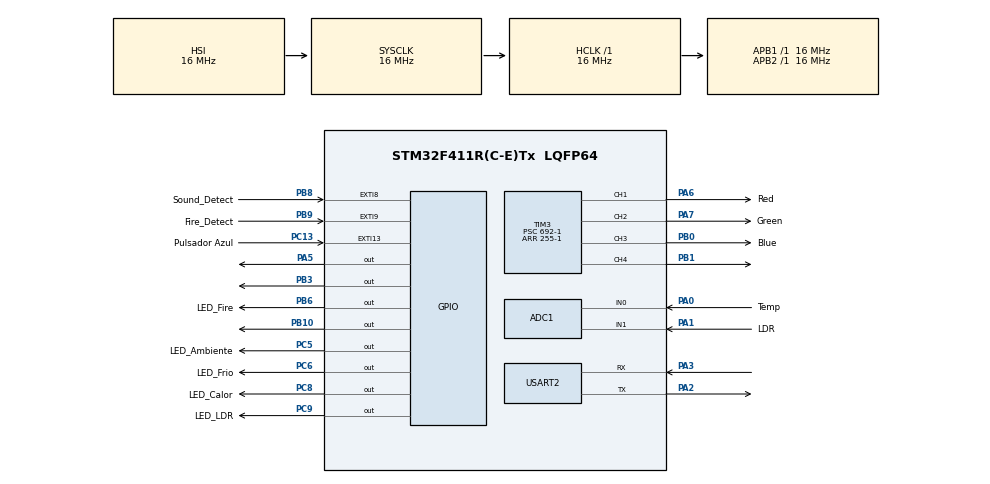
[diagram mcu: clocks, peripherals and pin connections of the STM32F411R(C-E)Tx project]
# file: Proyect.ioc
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ADC1.Channel-5\#ChannelRegularConversion=ADC_CHANNEL_0
ADC1.Channel-6\#ChannelRegularConversion=ADC_CHANNEL_1
ADC1.ContinuousConvMode=ENABLE
ADC1.NbrOfConversion=2
ADC1.NbrOfConversionFlag=1
ADC1.Rank-5\#ChannelRegularConversion=1
ADC1.Rank-6\#ChannelRegularConversion=2
ADC1.SamplingTime-5\#ChannelRegularConversion=ADC_SAMPLETIME_480CYCLES
ADC1.SamplingTime-6\#ChannelRegularConversion=ADC_SAMPLETIME_480CYCLES
ADC1.ScanConvMode=ENABLE
ADC1.master=1
FREERTOS.BinarySemaphores01=Fire_Semaphore,Dynamic,NULL
FREERTOS.Events01=Sound_Flag,Dynamic,NULL;Fire_Flag,Dynamic,NULL;Sys_Flag,Dynamic,NULL
FREERTOS.Mutexes01=com_lock,Dynamic,NULL
FREERTOS.Queues01=ADC_Read_Cola,4,struct ADC_Values,0,Dynamic,NULL,NULL;Actuadores_Cola,4,struct ADC_Values,0,Dynamic,NULL,NULL
FREERTOS.Tasks01=defaultTask,24,128,StartDefaultTask,Default,NULL,Dynamic,NULL,NULL;RGB,8,128,Start_RGB_Task,Default,NULL,Dynamic,NULL,NULL;Fire_Task,40,128,Start_Fire_Task,Default,NULL,Dynamic,NULL,NULL;ADC_Read,8,256,Start_ADC_Read,Default,NULL,Dynamic,NULL,NULL;COM,8,256,Start_COM,Default,NULL,Dynamic,NULL,NULL;Actuadores,8,256,StartActuadores_task,Default,NULL,Dynamic,NULL,NULL
Mcu.Family=STM32F4
Mcu.Name=STM32F411R(C-E)Tx
Mcu.Package=LQFP64
NVIC.ADC_IRQn=true\:5\:0\:false\:false\:true\:true\:true\:true\:true
NVIC.EXTI15_10_IRQn=true\:5\:0\:false\:false\:true\:true\:true\:true\:true
NVIC.EXTI9_5_IRQn=true\:5\:0\:true\:false\:true\:true\:true\:true\:true
NVIC.PriorityGroup=NVIC_PRIORITYGROUP_4
NVIC.USART2_IRQn=true\:5\:0\:false\:false\:true\:true\:true\:true\:true
PA0-WKUP.GPIO_Label=Temp
PA0-WKUP.Signal=ADCx_IN0
PA1.GPIO_Label=LDR
PA1.Signal=ADCx_IN1
PA2.Mode=Asynchronous
PA2.Signal=USART2_TX
PA3.Mode=Asynchronous
PA3.Signal=USART2_RX
PA5.PinState=GPIO_PIN_RESET
PA5.Signal=GPIO_Output
PA6.GPIO_Label=Red
PA6.Signal=S_TIM3_CH1
PA7.GPIO_Label=Green
PA7.Signal=S_TIM3_CH2
PB0.GPIO_Label=Blue
PB0.Signal=S_TIM3_CH3
PB1.Signal=S_TIM3_CH4
PB10.Signal=GPIO_Output
PB3.Signal=GPIO_Output
PB6.GPIO_Label=LED_Fire
PB6.Signal=GPIO_Output
PB8.GPIO_Label=Sound_Detect
PB8.Signal=GPXTI8
PB9.GPIO_Label=Fire_Detect
PB9.Signal=GPXTI9
PC13-ANTI_TAMP.GPIO_Label=Pulsador Azul
PC13-ANTI_TAMP.Signal=GPXTI13
PC5.GPIO_Label=LED_Ambiente
PC5.Signal=GPIO_Output
PC6.GPIO_Label=LED_Frio
PC6.Signal=GPIO_Output
PC8.GPIO_Label=LED_Calor
PC8.Signal=GPIO_Output
PC9.GPIO_Label=LED_LDR
PC9.Signal=GPIO_Output
ProjectManager.HeapSize=0x200
ProjectManager.StackSize=0x400
ProjectManager.TargetToolchain=STM32CubeIDE
RCC.AHBFreq_Value=16000000
RCC.APB1Freq_Value=16000000
RCC.APB2Freq_Value=16000000
RCC.CortexFreq_Value=16000000
RCC.HSE_VALUE=25000000
RCC.HSI_VALUE=16000000
RCC.LSE_VALUE=32768
RCC.SYSCLKFreq_VALUE=16000000
RCC.VCOOutputFreq_Value=192000000
SH.ADCx_IN0.0=ADC1_IN0,IN0
SH.ADCx_IN1.0=ADC1_IN1,IN1
SH.S_TIM3_CH1.0=TIM3_CH1,PWM Generation1 CH1
SH.S_TIM3_CH2.0=TIM3_CH2,PWM Generation2 CH2
SH.S_TIM3_CH3.0=TIM3_CH3,PWM Generation3 CH3
SH.S_TIM3_CH4.0=TIM3_CH4,PWM Generation4 CH4
TIM3.Channel-PWM\ Generation1\ CH1=TIM_CHANNEL_1
TIM3.Channel-PWM\ Generation2\ CH2=TIM_CHANNEL_2
TIM3.Channel-PWM\ Generation3\ CH3=TIM_CHANNEL_3
TIM3.Channel-PWM\ Generation4\ CH4=TIM_CHANNEL_4
TIM3.Period=255-1
TIM3.Prescaler=692-1
USART2.VirtualMode=VM_ASYNC
VP_FREERTOS_VS_CMSIS_V2.Mode=CMSIS_V2
board=custom

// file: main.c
/* USER CODE BEGIN Header */
/**
  ******************************************************************************
  * @file           : main.c
  * @brief          : Main program body
  ******************************************************************************
  * @attention
  *
  * Copyright (c) 2023 STMicroelectronics.
  * All rights reserved.
  *
  * This software is licensed under terms that can be found in the LICENSE file
  * in the root directory of this software component.
  * If no LICENSE file comes with this software, it is provided AS-IS.
  *
  ******************************************************************************
  */
/* USER CODE END Header */
#include "main.h"
#include "cmsis_os.h"

/* USER CODE BEGIN Includes */
#include <stdio.h>
#include <stdlib.h>
/* USER CODE END Includes */

/* USER CODE BEGIN PD */
#define RGB_Off 	0
#define RGB_Red 	1
#define RGB_Green 	2
#define RGB_Blue	3

#define temp_raw_cold 850 // 18ºC
#define temp_raw_hot  950 // 26ºC

#define limite_LDR 2000
/* USER CODE END PD */

/* USER CODE BEGIN PM */
#define MASK(pos) ( 1 << pos )
/* USER CODE END PM */

ADC_HandleTypeDef hadc1;

TIM_HandleTypeDef htim3;

UART_HandleTypeDef huart2;

/* Definitions for defaultTask */
osThreadId_t defaultTaskHandle;
const osThreadAttr_t defaultTask_attributes = {
  .name = "defaultTask",
  .stack_size = 128 * 4,
  .priority = (osPriority_t) osPriorityNormal,
};
/* Definitions for RGB */
osThreadId_t RGBHandle;
const osThreadAttr_t RGB_attributes = {
  .name = "RGB",
  .stack_size = 128 * 4,
  .priority = (osPriority_t) osPriorityLow,
};
/* Definitions for Fire_Task */
osThreadId_t Fire_TaskHandle;
const osThreadAttr_t Fire_Task_attributes = {
  .name = "Fire_Task",
  .stack_size = 128 * 4,
  .priority = (osPriority_t) osPriorityHigh,
};
/* Definitions for ADC_Read */
osThreadId_t ADC_ReadHandle;
const osThreadAttr_t ADC_Read_attributes = {
  .name = "ADC_Read",
  .stack_size = 256 * 4,
  .priority = (osPriority_t) osPriorityLow,
};
/* Definitions for COM */
osThreadId_t COMHandle;
const osThreadAttr_t COM_attributes = {
  .name = "COM",
  .stack_size = 256 * 4,
  .priority = (osPriority_t) osPriorityLow,
};
/* Definitions for Actuadores */
osThreadId_t ActuadoresHandle;
const osThreadAttr_t Actuadores_attributes = {
  .name = "Actuadores",
  .stack_size = 256 * 4,
  .priority = (osPriority_t) osPriorityLow,
};
/* Definitions for ADC_Read_Cola */
osMessageQueueId_t ADC_Read_ColaHandle;
const osMessageQueueAttr_t ADC_Read_Cola_attributes = {
  .name = "ADC_Read_Cola"
};
/* Definitions for Actuadores_Cola */
osMessageQueueId_t Actuadores_ColaHandle;
const osMessageQueueAttr_t Actuadores_Cola_attributes = {
  .name = "Actuadores_Cola"
};
/* Definitions for com_lock */
osMutexId_t com_lockHandle;
const osMutexAttr_t com_lock_attributes = {
  .name = "com_lock"
};
/* Definitions for Fire_Semaphore */
osSemaphoreId_t Fire_SemaphoreHandle;
const osSemaphoreAttr_t Fire_Semaphore_attributes = {
  .name = "Fire_Semaphore"
};
/* Definitions for Sound_Flag */
osEventFlagsId_t Sound_FlagHandle;
const osEventFlagsAttr_t Sound_Flag_attributes = {
  .name = "Sound_Flag"
};
/* Definitions for Fire_Flag */
osEventFlagsId_t Fire_FlagHandle;
const osEventFlagsAttr_t Fire_Flag_attributes = {
  .name = "Fire_Flag"
};
/* Definitions for Sys_Flag */
osEventFlagsId_t Sys_FlagHandle;
const osEventFlagsAttr_t Sys_Flag_attributes = {
  .name = "Sys_Flag"
};
/* USER CODE BEGIN PV */
struct ADC_Values{
	uint32_t temp;
	uint32_t ldr;
};
/* USER CODE END PV */

void SystemClock_Config(void);
static void MX_GPIO_Init(void);
static void MX_USART2_UART_Init(void);
static void MX_ADC1_Init(void);
static void MX_TIM3_Init(void);
void StartDefaultTask(void *argument);
void Start_RGB_Task(void *argument);
void Start_Fire_Task(void *argument);
void Start_ADC_Read(void *argument);
void Start_COM(void *argument);
void StartActuadores_task(void *argument);

/* USER CODE BEGIN 0 */

void set_rgb (uint8_t red, uint8_t green, uint8_t blue)
{
 htim3.Instance->CCR1 = red;
 htim3.Instance->CCR2 = green;
 htim3.Instance->CCR3 = blue;
}

void HAL_GPIO_EXTI_Callback ( uint16_t GPIO_Pin ){
	if(GPIO_Pin == Pulsador_Azul_Pin){
		osEventFlagsSet(Sys_FlagHandle, 0x00000001U);
	}
	else if(GPIO_Pin & MASK(9)){
		osEventFlagsSet(Fire_FlagHandle, 0x00000001U);
	}
	else if((GPIO_Pin & MASK(8)) && !(HAL_GPIO_ReadPin(GPIOB, Fire_Detect_Pin))){
		osEventFlagsSet(Sound_FlagHandle, 0x00000001U);
	}
}

/* USER CODE END 0 */

int main(void)
{

  /* MCU Configuration--------------------------------------------------------*/

  /* Reset of all peripherals, Initializes the Flash interface and the Systick. */
  HAL_Init();

  /* Configure the system clock */
  SystemClock_Config();

  /* Initialize all configured peripherals */
  MX_GPIO_Init();
  MX_USART2_UART_Init();
  MX_ADC1_Init();
  MX_TIM3_Init();

  /* Init scheduler */
  osKernelInitialize();
  /* Create the mutex(es) */
  /* creation of com_lock */
  com_lockHandle = osMutexNew(&com_lock_attributes);

  /* Create the semaphores(s) */
  /* creation of Fire_Semaphore */
  Fire_SemaphoreHandle = osSemaphoreNew(1, 1, &Fire_Semaphore_attributes);

  /* Create the queue(s) */
  /* creation of ADC_Read_Cola */
  ADC_Read_ColaHandle = osMessageQueueNew (4, sizeof(struct ADC_Values), &ADC_Read_Cola_attributes);

  /* creation of Actuadores_Cola */
  Actuadores_ColaHandle = osMessageQueueNew (4, sizeof(struct ADC_Values), &Actuadores_Cola_attributes);

  /* Create the thread(s) */
  /* creation of defaultTask */
  defaultTaskHandle = osThreadNew(StartDefaultTask, NULL, &defaultTask_attributes);

  /* creation of RGB */
  RGBHandle = osThreadNew(Start_RGB_Task, NULL, &RGB_attributes);

  /* creation of Fire_Task */
  Fire_TaskHandle = osThreadNew(Start_Fire_Task, NULL, &Fire_Task_attributes);

  /* creation of ADC_Read */
  ADC_ReadHandle = osThreadNew(Start_ADC_Read, NULL, &ADC_Read_attributes);

  /* creation of COM */
  COMHandle = osThreadNew(Start_COM, NULL, &COM_attributes);

  /* creation of Actuadores */
  ActuadoresHandle = osThreadNew(StartActuadores_task, NULL, &Actuadores_attributes);

  /* creation of Sound_Flag */
  Sound_FlagHandle = osEventFlagsNew(&Sound_Flag_attributes);

  /* creation of Fire_Flag */
  Fire_FlagHandle = osEventFlagsNew(&Fire_Flag_attributes);

  /* creation of Sys_Flag */
  Sys_FlagHandle = osEventFlagsNew(&Sys_Flag_attributes);

  /* Start scheduler */
  osKernelStart();

  /* We should never get here as control is now taken by the scheduler */
  /* Infinite loop */
  while (1)
  {

  }
}

void SystemClock_Config(void)
{
  RCC_OscInitTypeDef RCC_OscInitStruct = {0};
  RCC_ClkInitTypeDef RCC_ClkInitStruct = {0};

  /** Configure the main internal regulator output voltage
  */
  __HAL_RCC_PWR_CLK_ENABLE();
  __HAL_PWR_VOLTAGESCALING_CONFIG(PWR_REGULATOR_VOLTAGE_SCALE1);

  /** Initializes the RCC Oscillators according to the specified parameters
  * in the RCC_OscInitTypeDef structure.
  */
  RCC_OscInitStruct.OscillatorType = RCC_OSCILLATORTYPE_HSI;
  RCC_OscInitStruct.HSIState = RCC_HSI_ON;
  RCC_OscInitStruct.HSICalibrationValue = RCC_HSICALIBRATION_DEFAULT;
  RCC_OscInitStruct.PLL.PLLState = RCC_PLL_NONE;
  if (HAL_RCC_OscConfig(&RCC_OscInitStruct) != HAL_OK)
  {
    Error_Handler();
  }

  /** Initializes the CPU, AHB and APB buses clocks
  */
  RCC_ClkInitStruct.ClockType = RCC_CLOCKTYPE_HCLK|RCC_CLOCKTYPE_SYSCLK
                              |RCC_CLOCKTYPE_PCLK1|RCC_CLOCKTYPE_PCLK2;
  RCC_ClkInitStruct.SYSCLKSource = RCC_SYSCLKSOURCE_HSI;
  RCC_ClkInitStruct.AHBCLKDivider = RCC_SYSCLK_DIV1;
  RCC_ClkInitStruct.APB1CLKDivider = RCC_HCLK_DIV1;
  RCC_ClkInitStruct.APB2CLKDivider = RCC_HCLK_DIV1;

  if (HAL_RCC_ClockConfig(&RCC_ClkInitStruct, FLASH_LATENCY_0) != HAL_OK)
  {
    Error_Handler();
  }
}

static void MX_ADC1_Init(void)
{

  ADC_ChannelConfTypeDef sConfig = {0};

  /** Configure the global features of the ADC (Clock, Resolution, Data Alignment and number of conversion)
  */
  hadc1.Instance = ADC1;
  hadc1.Init.ClockPrescaler = ADC_CLOCK_SYNC_PCLK_DIV2;
  hadc1.Init.Resolution = ADC_RESOLUTION_12B;
  hadc1.Init.ScanConvMode = ENABLE;
  hadc1.Init.ContinuousConvMode = ENABLE;
  hadc1.Init.DiscontinuousConvMode = DISABLE;
  hadc1.Init.ExternalTrigConvEdge = ADC_EXTERNALTRIGCONVEDGE_NONE;
  hadc1.Init.ExternalTrigConv = ADC_SOFTWARE_START;
  hadc1.Init.DataAlign = ADC_DATAALIGN_RIGHT;
  hadc1.Init.NbrOfConversion = 2;
  hadc1.Init.DMAContinuousRequests = DISABLE;
  hadc1.Init.EOCSelection = ADC_EOC_SINGLE_CONV;
  if (HAL_ADC_Init(&hadc1) != HAL_OK)
  {
    Error_Handler();
  }

  /** Configure for the selected ADC regular channel its corresponding rank in the sequencer and its sample time.
  */
  sConfig.Channel = ADC_CHANNEL_0;
  sConfig.Rank = 1;
  sConfig.SamplingTime = ADC_SAMPLETIME_480CYCLES;
  if (HAL_ADC_ConfigChannel(&hadc1, &sConfig) != HAL_OK)
  {
    Error_Handler();
  }

  /** Configure for the selected ADC regular channel its corresponding rank in the sequencer and its sample time.
  */
  sConfig.Channel = ADC_CHANNEL_1;
  sConfig.Rank = 2;
  if (HAL_ADC_ConfigChannel(&hadc1, &sConfig) != HAL_OK)
  {
    Error_Handler();
  }

}

static void MX_TIM3_Init(void)
{

  TIM_MasterConfigTypeDef sMasterConfig = {0};
  TIM_OC_InitTypeDef sConfigOC = {0};

  htim3.Instance = TIM3;
  htim3.Init.Prescaler = 692-1;
  htim3.Init.CounterMode = TIM_COUNTERMODE_UP;
  htim3.Init.Period = 255-1;
  htim3.Init.ClockDivision = TIM_CLOCKDIVISION_DIV1;
  htim3.Init.AutoReloadPreload = TIM_AUTORELOAD_PRELOAD_DISABLE;
  if (HAL_TIM_PWM_Init(&htim3) != HAL_OK)
  {
    Error_Handler();
  }
  sMasterConfig.MasterOutputTrigger = TIM_TRGO_RESET;
  sMasterConfig.MasterSlaveMode = TIM_MASTERSLAVEMODE_DISABLE;
  if (HAL_TIMEx_MasterConfigSynchronization(&htim3, &sMasterConfig) != HAL_OK)
  {
    Error_Handler();
  }
  sConfigOC.OCMode = TIM_OCMODE_PWM1;
  sConfigOC.Pulse = 0;
  sConfigOC.OCPolarity = TIM_OCPOLARITY_HIGH;
  sConfigOC.OCFastMode = TIM_OCFAST_DISABLE;
  if (HAL_TIM_PWM_ConfigChannel(&htim3, &sConfigOC, TIM_CHANNEL_1) != HAL_OK)
  {
    Error_Handler();
  }
  if (HAL_TIM_PWM_ConfigChannel(&htim3, &sConfigOC, TIM_CHANNEL_2) != HAL_OK)
  {
    Error_Handler();
  }
  if (HAL_TIM_PWM_ConfigChannel(&htim3, &sConfigOC, TIM_CHANNEL_3) != HAL_OK)
  {
    Error_Handler();
  }
  if (HAL_TIM_PWM_ConfigChannel(&htim3, &sConfigOC, TIM_CHANNEL_4) != HAL_OK)
  {
    Error_Handler();
  }
  HAL_TIM_MspPostInit(&htim3);

}

static void MX_USART2_UART_Init(void)
{

  huart2.Instance = USART2;
  huart2.Init.BaudRate = 115200;
  huart2.Init.WordLength = UART_WORDLENGTH_8B;
  huart2.Init.StopBits = UART_STOPBITS_1;
  huart2.Init.Parity = UART_PARITY_NONE;
  huart2.Init.Mode = UART_MODE_TX_RX;
  huart2.Init.HwFlowCtl = UART_HWCONTROL_NONE;
  huart2.Init.OverSampling = UART_OVERSAMPLING_16;
  if (HAL_UART_Init(&huart2) != HAL_OK)
  {
    Error_Handler();
  }

}

static void MX_GPIO_Init(void)
{
  GPIO_InitTypeDef GPIO_InitStruct = {0};

  /* GPIO Ports Clock Enable */
  __HAL_RCC_GPIOC_CLK_ENABLE();
  __HAL_RCC_GPIOA_CLK_ENABLE();
  __HAL_RCC_GPIOB_CLK_ENABLE();

  /*Configure GPIO pin Output Level */
  HAL_GPIO_WritePin(GPIOA, GPIO_PIN_5, GPIO_PIN_RESET);

  /*Configure GPIO pin Output Level */
  HAL_GPIO_WritePin(GPIOC, LED_Ambiente_Pin|LED_Frio_Pin|LED_Calor_Pin|LED_LDR_Pin, GPIO_PIN_RESET);

  /*Configure GPIO pin Output Level */
  HAL_GPIO_WritePin(GPIOB, GPIO_PIN_10|GPIO_PIN_3|LED_Fire_Pin, GPIO_PIN_RESET);

  /*Configure GPIO pin : Pulsador_Azul_Pin */
  GPIO_InitStruct.Pin = Pulsador_Azul_Pin;
  GPIO_InitStruct.Mode = GPIO_MODE_IT_RISING;
  GPIO_InitStruct.Pull = GPIO_NOPULL;
  HAL_GPIO_Init(Pulsador_Azul_GPIO_Port, &GPIO_InitStruct);

  /*Configure GPIO pin : PA5 */
  GPIO_InitStruct.Pin = GPIO_PIN_5;
  GPIO_InitStruct.Mode = GPIO_MODE_OUTPUT_PP;
  GPIO_InitStruct.Pull = GPIO_NOPULL;
  GPIO_InitStruct.Speed = GPIO_SPEED_FREQ_LOW;
  HAL_GPIO_Init(GPIOA, &GPIO_InitStruct);

  /*Configure GPIO pins : LED_Ambiente_Pin LED_Frio_Pin LED_Calor_Pin LED_LDR_Pin */
  GPIO_InitStruct.Pin = LED_Ambiente_Pin|LED_Frio_Pin|LED_Calor_Pin|LED_LDR_Pin;
  GPIO_InitStruct.Mode = GPIO_MODE_OUTPUT_PP;
  GPIO_InitStruct.Pull = GPIO_NOPULL;
  GPIO_InitStruct.Speed = GPIO_SPEED_FREQ_LOW;
  HAL_GPIO_Init(GPIOC, &GPIO_InitStruct);

  /*Configure GPIO pins : PB10 PB3 LED_Fire_Pin */
  GPIO_InitStruct.Pin = GPIO_PIN_10|GPIO_PIN_3|LED_Fire_Pin;
  GPIO_InitStruct.Mode = GPIO_MODE_OUTPUT_PP;
  GPIO_InitStruct.Pull = GPIO_NOPULL;
  GPIO_InitStruct.Speed = GPIO_SPEED_FREQ_LOW;
  HAL_GPIO_Init(GPIOB, &GPIO_InitStruct);

  /*Configure GPIO pins : Sound_Detect_Pin Fire_Detect_Pin */
  GPIO_InitStruct.Pin = Sound_Detect_Pin|Fire_Detect_Pin;
  GPIO_InitStruct.Mode = GPIO_MODE_IT_RISING;
  GPIO_InitStruct.Pull = GPIO_NOPULL;
  HAL_GPIO_Init(GPIOB, &GPIO_InitStruct);

  /* EXTI interrupt init*/
  HAL_NVIC_SetPriority(EXTI9_5_IRQn, 5, 0);
  HAL_NVIC_EnableIRQ(EXTI9_5_IRQn);

  HAL_NVIC_SetPriority(EXTI15_10_IRQn, 5, 0);
  HAL_NVIC_EnableIRQ(EXTI15_10_IRQn);

}

void StartDefaultTask(void *argument)
{
  /* USER CODE BEGIN 5 */
	char msg_power_off[8] = "SAPAGADO";
  /* Infinite loop */
  for(;;)
  {
	  osEventFlagsWait(Sys_FlagHandle, 0x00000001U, osFlagsWaitAny, osWaitForever);
	  osSemaphoreAcquire(Fire_SemaphoreHandle, osWaitForever);

	  osMutexAcquire(com_lockHandle, osWaitForever);
	  HAL_UART_Transmit(&huart2, msg_power_off, sizeof(msg_power_off), 1000);
	  osMutexRelease(com_lockHandle);

	  // Apagar todas las salidas
	  set_rgb(0,0,0);
	  HAL_GPIO_WritePin(GPIOC, LED_Ambiente_Pin, 0);
	  HAL_GPIO_WritePin(GPIOC, LED_Calor_Pin, 0);
	  HAL_GPIO_WritePin(GPIOC, LED_Frio_Pin, 0);
	  HAL_GPIO_WritePin(GPIOC, LED_LDR_Pin, 0);

	  osSemaphoreRelease(Fire_SemaphoreHandle);
	  osEventFlagsClear(Sys_FlagHandle, 0x00000001U);
	  exit(0);
  }
  /* USER CODE END 5 */
}

void Start_RGB_Task(void *argument)
{
  /* USER CODE BEGIN Start_RGB_Task */
  int RGB = RGB_Off;
  HAL_TIM_PWM_Start (&htim3, TIM_CHANNEL_1);
  HAL_TIM_PWM_Start (&htim3, TIM_CHANNEL_2);
  HAL_TIM_PWM_Start (&htim3, TIM_CHANNEL_3);
  /* Infinite loop */
  for(;;)
  {
	osEventFlagsWait(Sound_FlagHandle, 0x00000001U, osFlagsWaitAny, osWaitForever);
	switch(RGB){
		case RGB_Off:
			set_rgb(0,0,0);
			RGB = RGB_Red;
			break;
		case RGB_Red:
			set_rgb(255,0,0);
			RGB = RGB_Green;
			break;
		case RGB_Green:
			set_rgb(0,255,0);
			RGB = RGB_Blue;
			break;
		case RGB_Blue:
			set_rgb(0,0,255);
			RGB = RGB_Off;
			break;
	}
	osEventFlagsClear(Sound_FlagHandle, 0x00000001U);
	osDelay(10);
  }
  /* USER CODE END Start_RGB_Task */
}

void Start_Fire_Task(void *argument)
{
  /* USER CODE BEGIN Start_Fire_Task */
  unsigned char msg_fire[8] = "INCENDIO";
  unsigned char msg_apagado[8] = "IAPAGADO";
  HAL_TIM_PWM_Start (&htim3, TIM_CHANNEL_4);
  /* Infinite loop */
  for(;;)
  {
	osEventFlagsWait(Fire_FlagHandle, 0x00000001U, osFlagsWaitAny, osWaitForever);
	osSemaphoreAcquire(Fire_SemaphoreHandle, osWaitForever);

	// Apagar todas las salidas no necesarias
	set_rgb(0,0,0);
	HAL_GPIO_WritePin(GPIOC, LED_Ambiente_Pin, 0);
	HAL_GPIO_WritePin(GPIOC, LED_Calor_Pin, 0);
	HAL_GPIO_WritePin(GPIOC, LED_Frio_Pin, 0);
	HAL_GPIO_WritePin(GPIOC, LED_LDR_Pin, 0);

	htim3.Instance->CCR4 = 250;

	osMutexAcquire(com_lockHandle, osWaitForever);
	HAL_UART_Transmit(&huart2, msg_fire, sizeof(msg_fire), 1000);
	osMutexRelease(com_lockHandle);

	while(HAL_GPIO_ReadPin(GPIOB, Fire_Detect_Pin)){
		HAL_GPIO_TogglePin(GPIOB, LED_Fire_Pin);
		osDelay(500);
	}

	htim3.Instance->CCR4 = 0;
	osDelay(1000);
	HAL_GPIO_WritePin(GPIOB, LED_Fire_Pin, 0);

	osMutexAcquire(com_lockHandle, osWaitForever);
	HAL_UART_Transmit(&huart2, msg_apagado, sizeof(msg_apagado), 1000);
	osMutexRelease(com_lockHandle);

	osEventFlagsClear(Fire_FlagHandle, 0x00000001U);
	osSemaphoreRelease(Fire_SemaphoreHandle);
	osDelay(10);
  }
  /* USER CODE END Start_Fire_Task */
}

void Start_ADC_Read(void *argument)
{
  /* USER CODE BEGIN Start_ADC_Read */
  struct ADC_Values datos;

  HAL_StatusTypeDef status ;
  /* Infinite loop */
  for(;;)
  {
	//osEventFlagsWait(Fire_FlagHandle, 0x00000000U, osFlagWaitAny, osWaitForever);
	if (osSemaphoreGetCount(Fire_SemaphoreHandle)){
		HAL_ADC_Start (&hadc1) ; /* INICIO */
		status = HAL_ADC_PollForConversion (&hadc1, 1);
		if( status == HAL_OK ){
			datos.temp = HAL_ADC_GetValue (&hadc1);
		}
		status = HAL_ADC_PollForConversion (&hadc1, 1);
		if( status == HAL_OK ){
			datos.ldr = HAL_ADC_GetValue (&hadc1);
		}
		osMessageQueuePut(ADC_Read_ColaHandle, &datos, osPriorityNormal, 0U);
		osMessageQueuePut(Actuadores_ColaHandle, &datos, osPriorityNormal, 0U);
		HAL_ADC_Stop (&hadc1) ;
	}
	osDelay(1000);
  }
  /* USER CODE END Start_ADC_Read */
}

void Start_COM(void *argument)
{
  /* USER CODE BEGIN Start_COM */
  /* Infinite loop */
  for(;;)
  {
	  struct ADC_Values message;
	  unsigned char message_str[8] = {'0','0','0','0','0','0','0','0'};

	  osMessageQueueGet(ADC_Read_ColaHandle, &message, NULL, osWaitForever);
	  sprintf(message_str, "%04ld%04ld", message.temp, message.ldr);
	  osMutexAcquire(com_lockHandle, osWaitForever);
	  HAL_UART_Transmit(&huart2, message_str, sizeof(message_str), 1000);
	  osMutexRelease(com_lockHandle);

  }
  /* USER CODE END Start_COM */
}

void StartActuadores_task(void *argument)
{
  /* USER CODE BEGIN StartActuadores_task */
  struct ADC_Values values;
  uint32_t temp_raw, ldr_raw;
  /* Infinite loop */
  for(;;)
  {
	  osMessageQueueGet(Actuadores_ColaHandle, &values, NULL, osWaitForever);
	  temp_raw = values.temp;
	  ldr_raw = values.ldr;

	  // Estados Temperatura
	  if(temp_raw < temp_raw_cold) // Frio
	  {
		  HAL_GPIO_WritePin(GPIOC, LED_Ambiente_Pin, 0);
		  HAL_GPIO_WritePin(GPIOC, LED_Calor_Pin, 0);
		  HAL_GPIO_WritePin(GPIOC, LED_Frio_Pin, 1);
		  osDelay(500);
	  }
	  else if (temp_raw > temp_raw_hot) // Calor
	  {
		  HAL_GPIO_WritePin(GPIOC, LED_Ambiente_Pin, 0);
		  HAL_GPIO_WritePin(GPIOC, LED_Calor_Pin, 1);
		  HAL_GPIO_WritePin(GPIOC, LED_Frio_Pin, 0);
	  }
	  else // Templado
	  {
		  HAL_GPIO_WritePin(GPIOC, LED_Ambiente_Pin, 1);
		  HAL_GPIO_WritePin(GPIOC, LED_Calor_Pin, 0);
		  HAL_GPIO_WritePin(GPIOC, LED_Frio_Pin, 0);
	  }

	  if(ldr_raw < limite_LDR){
		  HAL_GPIO_WritePin(GPIOC, LED_LDR_Pin, 0);
	  }
	  else{
		  HAL_GPIO_WritePin(GPIOC, LED_LDR_Pin, 1);
	  }
  }
  /* USER CODE END StartActuadores_task */
}

void Error_Handler(void)
{
  __disable_irq();
  while (1)
  {
  }
}
